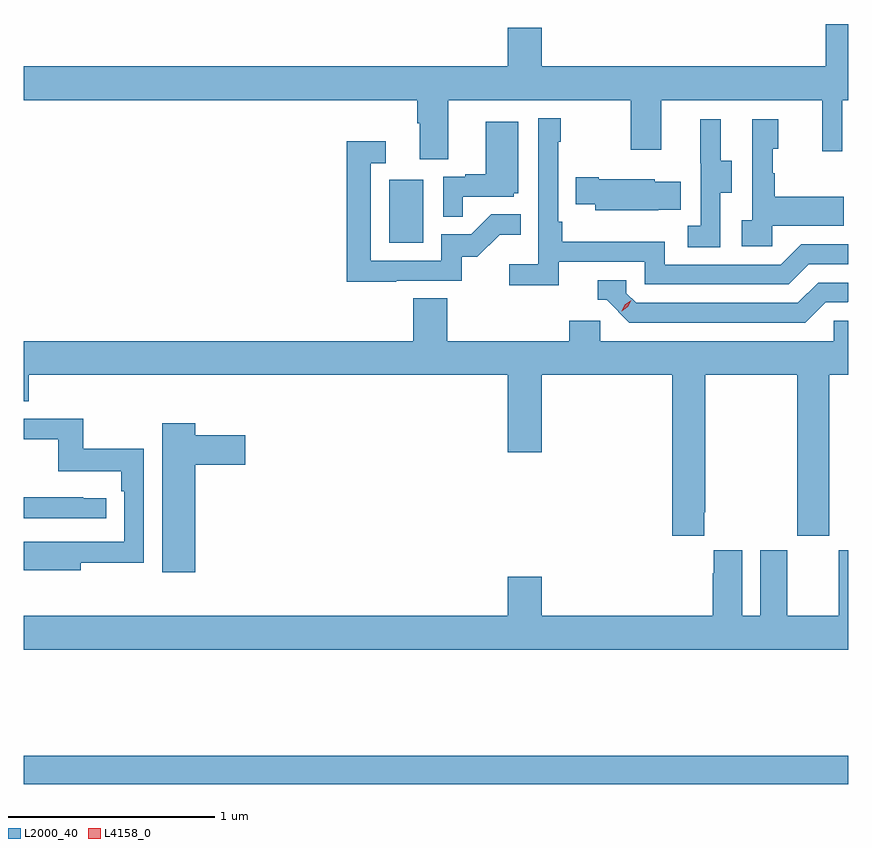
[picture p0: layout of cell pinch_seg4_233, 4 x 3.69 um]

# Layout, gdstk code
import gdstk
lib = gdstk.Library(unit=1e-6, precision=1e-09)
def R(c, l, rs):  # rectangles x0, y0, x1, y1
    for r in rs: c.add(gdstk.rectangle(r[:2], r[2:], *l))
def P(c, l, *ps):  # polygons
    for p in ps: c.add(gdstk.Polygon(p, *l))
L2000_40 = (2000, 40)
L4158_0 = (4158, 0)

pinch_seg4_233 = lib.new_cell('pinch_seg4_233')
R(pinch_seg4_233, L2000_40, [(917.903,813.484,921.903,813.62), (919.676,816.108,919.84,816.415)])
P(pinch_seg4_233, L2000_40, [(919.963,816.8),(920.848,816.8),(920.848,816.561),(920.995,816.561),(920.995,816.8),(921.776,816.8),(921.776,816.552),(921.873,816.552),(921.873,816.8),(921.903,816.8),(921.903,817.17),(921.793,817.17),(921.793,816.964),(920.416,816.964),(920.416,817.153),(920.252,817.153),(920.252,816.964),(917.903,816.964),(917.903,816.8),(919.811,816.8),(919.811,816.688),(919.823,816.688),(919.823,816.514),(919.963,816.514)],
  [(920.498,816.018),(920.916,816.018),(920.916,815.907),(921.613,815.907),(921.712,816.006),(921.903,816.006),(921.903,816.102),(921.675,816.102),(921.576,816.003),(921.012,816.003),(921.012,816.115),(920.516,816.115),(920.516,816.211),(920.496,816.211),(920.496,816.599),(920.509,816.599),(920.509,816.712),(920.4,816.712),(920.4,816.004),(920.259,816.004),(920.259,815.902),(920.498,815.902)],
  [(921.534,816.191),(921.881,816.191),(921.881,816.331),(921.547,816.331),(921.547,816.446),(921.537,816.446),(921.537,816.564),(921.562,816.564),(921.562,816.709),(921.438,816.709),(921.438,816.218),(921.387,816.218),(921.387,816.093),(921.534,816.093)],
  [(921.282,816.352),(921.337,816.352),(921.337,816.507),(921.283,816.507),(921.283,816.709),(921.185,816.709),(921.185,816.495),(921.186,816.495),(921.186,816.191),(921.123,816.191),(921.123,816.088),(921.282,816.088)],
  [(920.033,816.333),(920.28,816.333),(920.28,816.348),(920.302,816.348),(920.302,816.697),(920.144,816.697),(920.144,816.442),(920.045,816.442),(920.045,816.429),(919.938,816.429),(919.938,816.235),(920.033,816.235)],
  [(919.709,815.925),(920.028,815.925),(920.028,816.042),(920.104,816.042),(920.211,816.149),(920.315,816.149),(920.315,816.248),(920.171,816.248),(920.073,816.15),(919.929,816.15),(919.929,816.021),(919.587,816.021),(919.587,816.495),(919.66,816.495),(919.66,816.601),(919.471,816.601),(919.471,815.92),(919.709,815.92)],
  [(920.981,816.269),(921.089,816.269),(921.089,816.406),(920.964,816.406),(920.964,816.418),(920.692,816.418),(920.692,816.426),(920.581,816.426),(920.581,816.296),(920.675,816.296),(920.675,816.266),(920.981,816.266)],
  [(921.793,815.82),(921.9,815.82),(921.9,815.823),(921.903,815.823),(921.903,815.916),(921.756,815.916),(921.657,815.817),(920.874,815.817),(920.826,815.865),(920.826,815.928),(920.687,815.928),(920.687,815.832),(920.73,815.832),(920.841,815.721),(921.694,815.721)],
  [(921.205,814.801),(921.21,814.801),(921.21,815.468),(921.655,815.468),(921.655,814.689),(921.81,814.689),(921.81,815.468),(921.903,815.468),(921.903,815.73),(921.831,815.73),(921.831,815.632),(920.7,815.632),(920.7,815.73),(920.549,815.73),(920.549,815.632),(919.958,815.632),(919.958,815.84),(919.793,815.84),(919.793,815.632),(917.903,815.632),(917.903,815.341),(917.927,815.341),(917.927,815.468),(920.252,815.468),(920.252,815.094),(920.416,815.094),(920.416,815.468),(921.05,815.468),(921.05,814.689),(921.205,814.689)],
  [(918.181,814.558),(918.486,814.558),(918.486,815.11),(918.193,815.11),(918.193,815.256),(917.903,815.256),(917.903,815.155),(918.072,815.155),(918.072,815),(918.377,815),(918.377,814.904),(918.39,814.904),(918.39,814.659),(918.077,814.659),(918.077,814.66),(917.903,814.66),(917.903,814.52),(918.181,814.52)],
  [(918.736,815.033),(918.979,815.033),(918.979,815.175),(918.736,815.175),(918.736,815.233),(918.575,815.233),(918.575,814.512),(918.736,814.512)],
  [(918.304,814.869),(918.191,814.869),(918.191,814.874),(917.903,814.874),(917.903,814.773),(918.304,814.773)],
  [(921.903,814.618),(921.857,814.618),(921.857,814.3),(921.607,814.3),(921.607,814.618),(921.476,814.618),(921.476,814.3),(921.388,814.3),(921.388,814.618),(921.251,814.618),(921.251,814.505),(921.245,814.505),(921.245,814.3),(920.416,814.3),(920.416,814.489),(920.252,814.489),(920.252,814.3),(917.903,814.3),(917.903,814.136),(921.903,814.136)])
P(pinch_seg4_233, L4158_0, [(920.803,815.778),(920.803,815.779),(920.82,815.811),(920.85,815.831),(920.851,815.831),(920.851,815.831),(920.834,815.798),(920.803,815.778)])

lib.write_gds('pinch_seg4_233.gds')
